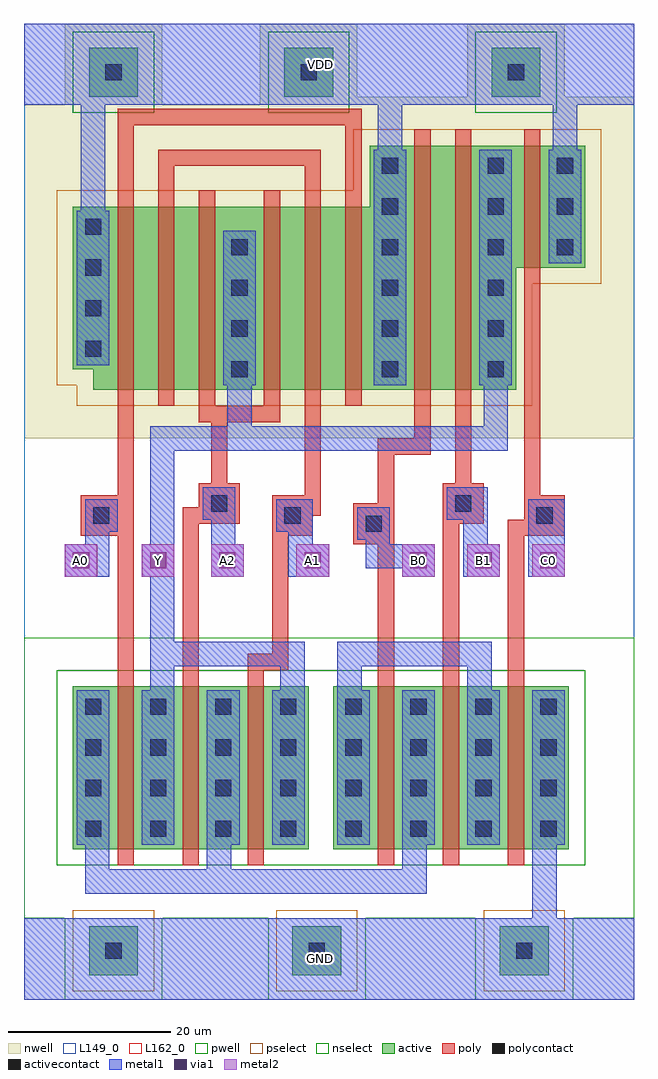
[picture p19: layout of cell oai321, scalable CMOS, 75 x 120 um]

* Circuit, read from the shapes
.subckt oai321 A0 A1 A2 B0 B1 C0 GND VDD Y
M1 Y A0 n1 GND nfet w=20u l=2u
M2 n1 A2 Y GND nfet w=20u l=2u
M3 Y A1 n1 GND nfet w=20u l=2u
M4 n1 B0 n2 GND nfet w=20u l=2u
M5 n2 B1 n1 GND nfet w=20u l=2u
M6 GND C0 n2 GND nfet w=20u l=2u
M7 n3 A0 VDD VDD pfet w=22.5u l=2u
M8 n4 A1 n3 VDD pfet w=22.5u l=2u
M9 Y A2 n4 VDD pfet w=22.5u l=2u
M10 n5 A2 Y VDD pfet w=22.5u l=2u
M11 n6 A1 n5 VDD pfet w=22.5u l=2u
M12 VDD A0 n6 VDD pfet w=22.5u l=2u
M13 n7 B0 VDD VDD pfet w=30u l=2u
M14 Y B1 n7 VDD pfet w=30u l=2u
M15 VDD C0 Y VDD pfet w=15u l=2u
.ends

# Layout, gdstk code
import gdstk
lib = gdstk.Library(unit=1e-6, precision=1e-09)
def R(c, l, rs):  # rectangles x0, y0, x1, y1
    for r in rs: c.add(gdstk.rectangle(r[:2], r[2:], *l))
def A(c, l, x, y, w, h, nx, ny, dx, dy):  # array of equal rectangles
    R(c, l, [(x+i*dx, y+j*dy, x+i*dx+w, y+j*dy+h) for i in range(nx) for j in range(ny)])
def P(c, l, *ps):  # polygons
    for p in ps: c.add(gdstk.Polygon(p, *l))
pwell = (41, 0)
nwell = (42, 0)
active = (43, 0)
pselect = (44, 0)
nselect = (45, 0)
poly = (46, 0)
polycontact = (47, 0)
activecontact = (48, 0)
metal1 = (49, 0)
via1 = (50, 0)
metal2 = (51, 0)
L149_0 = (149, 0)
L162_0 = (162, 0)

pwell_contact = lib.new_cell('pwell_contact')
R(pwell_contact, pwell, [(-6,-6,6,5)])
R(pwell_contact, active, [(-3,-3,3,3)])
R(pwell_contact, pselect, [(-5,-5,5,5)])
R(pwell_contact, activecontact, [(-1,-1,1,1)])

nwell_contact = lib.new_cell('nwell_contact')
R(nwell_contact, nwell, [(-6,-5,6,6)])
R(nwell_contact, active, [(-3,-3,3,3)])
R(nwell_contact, nselect, [(-5,-5,5,5)])
R(nwell_contact, activecontact, [(-1,-1,1,1)])

via = lib.new_cell('via')
R(via, metal1, [(-2,-2,2,2)])
R(via, via1, [(-1,-1,1,1)])
R(via, metal2, [(-2,-2,2,2)])

oai321 = lib.new_cell('oai321')
R(oai321, pwell, [(0,10,75,44.5), (0,12.5,41,44.5), (32,12.5,73,44.5)])
R(oai321, nwell, [(0,69,75,110)])
P(oai321, nwell, [(2.5,69),(2.5,71.5),(0,71.5),(0,103.5),(36.5,103.5),(36.5,111),(75,111),(75,84),(66.5,84),(66.5,69)])
R(oai321, active, [(6,18.5,11.5,38.5), (6,18.5,35,38.5), (29.5,18.5,35,38.5), (38,18.5,43.5,38.5), (38,18.5,67,38.5), (61.5,18.5,67,38.5), (63.5,90,69,105)])
P(oai321, active, [(8.5,75),(8.5,77.5),(6,77.5),(6,97.5),(42.5,97.5),(42.5,105),(69,105),(69,90),(60.5,90),(60.5,75)],
  [(8.5,75),(8.5,77.5),(6,77.5),(6,97.5),(11.5,97.5),(11.5,75)])
P(oai321, pselect, [(6.5,73),(6.5,75.5),(4,75.5),(4,99.5),(40.5,99.5),(40.5,107),(71,107),(71,88),(62.5,88),(62.5,73)])
R(oai321, nselect, [(4,16.5,37,40.5), (36,16.5,69,40.5)])
A(oai321, poly, 11.5, 16.5, 2, 2, 3, 2, 8, 22)
A(oai321, poly, 43.5, 16.5, 2, 2, 3, 2, 8, 22)
A(oai321, poly, 11.5, 18.5, 2, 20, 3, 1, 8, 0)
A(oai321, poly, 43.5, 18.5, 2, 20, 3, 1, 8, 0)
A(oai321, poly, 11.5, 73, 2, 2, 3, 2, 5, 24.5)
A(oai321, poly, 29.5, 73, 2, 2, 3, 2, 5, 24.5)
A(oai321, poly, 11.5, 75, 2, 22.5, 3, 1, 5, 0)
A(oai321, poly, 29.5, 75, 2, 22.5, 3, 1, 5, 0)
R(oai321, poly, [(40.5,56,45.5,61), (7,57,12,62), (30.5,57,35.5,62), (61.5,57,66.5,62), (21.5,58.5,26.5,63.5), (51.5,58.5,56.5,63.5), (48,73,50,75), (53,73,55,75), (48,75,50,105), (53,75,55,105), (61.5,88,63.5,90), (61.5,90,63.5,105), (48,105,50,107), (53,105,55,107), (61.5,105,63.5,107)])
R(oai321, polycontact, [(42,57.5,44,59.5), (8.5,58.5,10.5,60.5), (32,58.5,34,60.5), (63,58.5,65,60.5), (23,60,25,62), (53,60,55,62)])
A(oai321, activecontact, 7.5, 20, 2, 2, 8, 4, 8, 5)
A(oai321, activecontact, 25.5, 76.5, 2, 2, 1, 4, 0, 5)
A(oai321, activecontact, 44, 76.5, 2, 2, 1, 6, 0, 5)
A(oai321, activecontact, 57, 76.5, 2, 2, 1, 6, 0, 5)
A(oai321, activecontact, 7.5, 79, 2, 2, 1, 4, 0, 5)
A(oai321, activecontact, 65.5, 91.5, 2, 2, 1, 3, 0, 5)
A(oai321, metal1, 6.5, 19, 4, 19, 8, 1, 8, 0)
R(oai321, metal1, [(0,0,75,10), (41,56.5,45,60.5), (7.5,57.5,11.5,61.5), (31,57.5,35,61.5), (62,57.5,66,61.5), (22,59,26,63), (52,59,56,63), (24.5,75.5,28.5,94.5), (43,75.5,47,104.5), (56,75.5,60,104.5), (6.5,78,10.5,97), (64.5,90.5,68.5,104.5), (0,110,75,120)])
A(oai321, metal2, 46.5, 52, 4, 4, 3, 1, 8, 0)
R(oai321, metal2, [(5,52,9,56), (14.5,52,18.5,56), (23,52,27,56), (33.5,52,37.5,56)])
R(oai321, L149_0, [(0,0,75,120), (41,56.5,45,60.5), (7.5,57.5,11.5,61.5), (31,57.5,35,61.5), (62,57.5,66,61.5), (22,59,26,63), (52,59,56,63)])
A(oai321, L162_0, 46.5, 52, 4, 4, 3, 1, 8, 0)
R(oai321, L162_0, [(5,52,9,56), (14.5,52,18.5,56), (23,52,27,56), (33.5,52,37.5,56)])
oai321.add(gdstk.FlexPath([(8.5,97),(8.5,110)], 3, ends="flush", simple_path=True, layer=149, datatype=0))  # L149_0
oai321.add(gdstk.FlexPath([(17,38),(17,64.5)], 3, ends="flush", simple_path=True, layer=149, datatype=0))  # L149_0
oai321.add(gdstk.FlexPath([(9,52),(9,61.5)], 3, ends="flush", simple_path=True, layer=149, datatype=0))  # L149_0
oai321.add(gdstk.FlexPath([(40,38),(40,42.5),(56,42.5),(56,38)], 3, ends="flush", simple_path=True, layer=149, datatype=0))  # L149_0
oai321.add(gdstk.FlexPath([(65,52),(65,61.5)], 3, ends="flush", simple_path=True, layer=149, datatype=0))  # L149_0
oai321.add(gdstk.FlexPath([(66.5,104.5),(66.5,110)], 3, ends="flush", simple_path=True, layer=149, datatype=0))  # L149_0
oai321.add(gdstk.FlexPath([(24,19),(24,14.5),(48,14.5),(48,19)], 3, ends="flush", simple_path=True, layer=149, datatype=0))  # L149_0
oai321.add(gdstk.FlexPath([(9,19),(9,14.5),(22.5,14.5)], 3, ends="flush", simple_path=True, layer=149, datatype=0))  # L149_0
oai321.add(gdstk.FlexPath([(64,19),(64,10)], 3, ends="flush", simple_path=True, layer=149, datatype=0))  # L149_0
oai321.add(gdstk.FlexPath([(18.5,42.5),(33,42.5),(33,38)], 3, ends="flush", simple_path=True, layer=149, datatype=0))  # L149_0
oai321.add(gdstk.FlexPath([(50.5,54.5),(43.5,54.5),(43.5,56.5)], 3, ends="flush", simple_path=True, layer=149, datatype=0))  # L149_0
oai321.add(gdstk.FlexPath([(45,104.5),(45,110)], 3, ends="flush", simple_path=True, layer=149, datatype=0))  # L149_0
oai321.add(gdstk.FlexPath([(34,52),(34,61.5)], 3, ends="flush", simple_path=True, layer=149, datatype=0))  # L149_0
oai321.add(gdstk.FlexPath([(63.5,52),(63.5,61.5)], 3, ends="flush", simple_path=True, layer=149, datatype=0))  # L149_0
oai321.add(gdstk.FlexPath([(55.5,52),(55.5,63)], 3, ends="flush", simple_path=True, layer=149, datatype=0))  # L149_0
oai321.add(gdstk.FlexPath([(24.5,52),(24.5,63)], 3, ends="flush", simple_path=True, layer=149, datatype=0))  # L149_0
oai321.add(gdstk.FlexPath([(65,52),(65,61.5)], 3, ends="flush", simple_path=True, layer=49, datatype=0))  # metal1
oai321.add(gdstk.FlexPath([(66.5,104.5),(66.5,110)], 3, ends="flush", simple_path=True, layer=49, datatype=0))  # metal1
oai321.add(gdstk.FlexPath([(24,19),(24,14.5),(48,14.5),(48,19)], 3, ends="flush", simple_path=True, layer=49, datatype=0))  # metal1
oai321.add(gdstk.FlexPath([(9,19),(9,14.5),(22.5,14.5)], 3, ends="flush", simple_path=True, layer=49, datatype=0))  # metal1
oai321.add(gdstk.FlexPath([(64,19),(64,10)], 3, ends="flush", simple_path=True, layer=49, datatype=0))  # metal1
oai321.add(gdstk.FlexPath([(17,38),(17,64.5)], 3, ends="flush", simple_path=True, layer=49, datatype=0))  # metal1
oai321.add(gdstk.FlexPath([(18.5,42.5),(33,42.5),(33,38)], 3, ends="flush", simple_path=True, layer=49, datatype=0))  # metal1
oai321.add(gdstk.FlexPath([(50.5,54.5),(43.5,54.5),(43.5,56.5)], 3, ends="flush", simple_path=True, layer=49, datatype=0))  # metal1
oai321.add(gdstk.FlexPath([(40,38),(40,42.5),(56,42.5),(56,38)], 3, ends="flush", simple_path=True, layer=49, datatype=0))  # metal1
oai321.add(gdstk.FlexPath([(9,52),(9,61.5)], 3, ends="flush", simple_path=True, layer=49, datatype=0))  # metal1
oai321.add(gdstk.FlexPath([(45,104.5),(45,110)], 3, ends="flush", simple_path=True, layer=49, datatype=0))  # metal1
oai321.add(gdstk.FlexPath([(34,52),(34,61.5)], 3, ends="flush", simple_path=True, layer=49, datatype=0))  # metal1
oai321.add(gdstk.FlexPath([(63.5,52),(63.5,61.5)], 3, ends="flush", simple_path=True, layer=49, datatype=0))  # metal1
oai321.add(gdstk.FlexPath([(55.5,52),(55.5,63)], 3, ends="flush", simple_path=True, layer=49, datatype=0))  # metal1
oai321.add(gdstk.FlexPath([(8.5,97),(8.5,110)], 3, ends="flush", simple_path=True, layer=49, datatype=0))  # metal1
oai321.add(gdstk.FlexPath([(24.5,52),(24.5,63)], 3, ends="flush", simple_path=True, layer=49, datatype=0))  # metal1
oai321.add(gdstk.FlexPath([(17,64.5),(17,69),(25,69)], 3, ends="flush", simple_path=True, layer=49, datatype=0))  # metal1
oai321.add(gdstk.FlexPath([(26.5,75.5),(26.5,69),(58,69),(58,75.5)], 3, ends="flush", simple_path=True, layer=49, datatype=0))  # metal1
oai321.add(gdstk.FlexPath([(26.5,75.5),(26.5,69),(58,69),(58,75.5)], 3, ends="flush", simple_path=True, layer=149, datatype=0))  # L149_0
oai321.add(gdstk.FlexPath([(25,69),(17,69),(17,64.5)], 3, ends="flush", simple_path=True, layer=149, datatype=0))  # L149_0
oai321.add(gdstk.FlexPath([(31.5,72),(21.5,72)], 2, ends="flush", simple_path=True, layer=46, datatype=0))  # poly
oai321.add(gdstk.FlexPath([(40.5,99.5),(40.5,108.5),(12.5,108.5),(12.5,99.5)], 2, ends="flush", simple_path=True, layer=46, datatype=0))  # poly
oai321.add(gdstk.FlexPath([(35.5,99.5),(35.5,103.5),(17.5,103.5),(17.5,99.5)], 2, ends="flush", simple_path=True, layer=46, datatype=0))  # poly
oai321.add(gdstk.FlexPath([(12.5,40.5),(12.5,73)], 2, ends="flush", simple_path=True, layer=46, datatype=0))  # poly
oai321.add(gdstk.FlexPath([(24,63.5),(24,71)], 2, ends="flush", simple_path=True, layer=46, datatype=0))  # poly
oai321.add(gdstk.FlexPath([(20.5,40.5),(20.5,59.5),(21.5,59.5)], 2, ends="flush", simple_path=True, layer=46, datatype=0))  # poly
oai321.add(gdstk.FlexPath([(35.5,73),(35.5,59.5)], 2, ends="flush", simple_path=True, layer=46, datatype=0))  # poly
oai321.add(gdstk.FlexPath([(31.5,57),(31.5,41.5),(27.5,41.5)], 2, ends="flush", simple_path=True, layer=46, datatype=0))  # poly
oai321.add(gdstk.FlexPath([(44.5,40.5),(44.5,56)], 2, ends="flush", simple_path=True, layer=46, datatype=0))  # poly
oai321.add(gdstk.FlexPath([(52.5,40.5),(52.5,58.5)], 2, ends="flush", simple_path=True, layer=46, datatype=0))  # poly
oai321.add(gdstk.FlexPath([(60.5,40.5),(60.5,58),(61.5,58)], 2, ends="flush", simple_path=True, layer=46, datatype=0))  # poly
oai321.add(gdstk.FlexPath([(62.5,62),(62.5,88)], 2, ends="flush", simple_path=True, layer=46, datatype=0))  # poly
oai321.add(gdstk.FlexPath([(54,73),(54,63.5)], 2, ends="flush", simple_path=True, layer=46, datatype=0))  # poly
oai321.add(gdstk.FlexPath([(49,73),(49,68),(44.5,68),(44.5,61)], 2, ends="flush", simple_path=True, layer=46, datatype=0))  # poly
oai321.add(gdstk.Reference(pwell_contact, (36,6)))
oai321.add(gdstk.Reference(pwell_contact, (61.5,6)))
oai321.add(gdstk.Reference(pwell_contact, (11,6)))
oai321.add(gdstk.Reference(nwell_contact, (35,114)))
oai321.add(gdstk.Reference(nwell_contact, (60.5,114)))
oai321.add(gdstk.Reference(nwell_contact, (11,114)))
oai321.add(gdstk.Reference(via, (35.5,54)))
oai321.add(gdstk.Reference(via, (7,54)))
oai321.add(gdstk.Reference(via, (56.5,54)))
oai321.add(gdstk.Reference(via, (16.5,54)))
oai321.add(gdstk.Reference(via, (48.5,54), x_reflection=True))
oai321.add(gdstk.Reference(via, (64.5,54)))
oai321.add(gdstk.Reference(via, (25,54)))
oai321.add(gdstk.Label('C0', (64.5,54), layer=3, texttype=0))
oai321.add(gdstk.Label('B0', (48.5,54), layer=3, texttype=0))
oai321.add(gdstk.Label('A1', (35.5,54), layer=3, texttype=0))
oai321.add(gdstk.Label('A0', (7,54), layer=3, texttype=0))
oai321.add(gdstk.Label('Y', (16.5,54), layer=3, texttype=0))
oai321.add(gdstk.Label('B1', (56.5,54), layer=3, texttype=0))
oai321.add(gdstk.Label('A2', (25,54), layer=3, texttype=0))
oai321.add(gdstk.Label('GND', (36.5,5), layer=2, texttype=0))
oai321.add(gdstk.Label('VDD', (36.5,115), layer=2, texttype=0))

lib.write_gds('oai321.gds')
